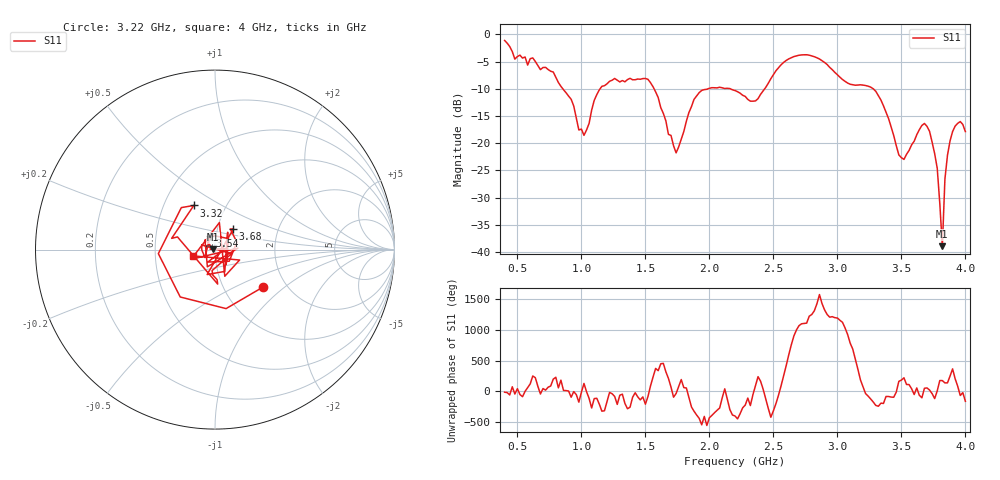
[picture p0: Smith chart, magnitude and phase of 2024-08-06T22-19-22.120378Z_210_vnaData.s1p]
!Created with skrf (http://scikit-rf.org).
# Hz S RI R 50.0
!freq ReS11 ImS11
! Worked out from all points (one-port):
!   181 points, 400 MHz to 4 GHz, reference 50 ohm
!   lowest |S11| = -38.9 dB at 3.82 GHz (marker M1), VSWR 1.02, Z = 48.9 + j0.134 ohm
!   |S11| at or under -10 dB: 854.7 MHz to 1.146 GHz (291.2 MHz wide, 29.1 % of centre); 1.568 GHz to 1.99 GHz (421.8 MHz wide, 23.7 % of centre); 3.28 GHz to end of sweep (the widest 3 of 4)
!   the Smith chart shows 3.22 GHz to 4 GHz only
!   S11 on the Smith chart (normalised r, x): 3.22 GHz: 1.52, -0.72; 3.32 GHz: 0.71, +0.38; 3.54 GHz: 0.94, +0.14; 3.68 GHz: 1.19, +0.28; 4 GHz: 0.78, -0.06
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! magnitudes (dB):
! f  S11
! 400 MHz  -1.1
! 480 MHz  -4.6
! 620 MHz  -4.3
! 860 MHz  -10.2
! 1.02 GHz  -18.5
! 1.14 GHz  -10.2
! 1.3 GHz  -8.7
! 1.52 GHz  -8.3
! 1.74 GHz  -21.8
! 1.76 GHz  -20.7
! 1.92 GHz  -10.7
! 2.2 GHz  -10.3
! 2.36 GHz  -12.2
! 2.66 GHz  -4.1
! 2.86 GHz  -4.5
! 3.1 GHz  -9.2
! 3.22 GHz  -9.4
! 3.32 GHz  -11.3
! 3.48 GHz  -22.1
! 3.54 GHz  -22.0
! 3.56 GHz  -21.3
! 3.68 GHz  -16.4
! 3.78 GHz  -24.6
! 3.82 GHz  -38.9
! 3.84 GHz  -26.6
! 3.88 GHz  -19.6
! 3.96 GHz  -16.0
! 4 GHz  -17.9
